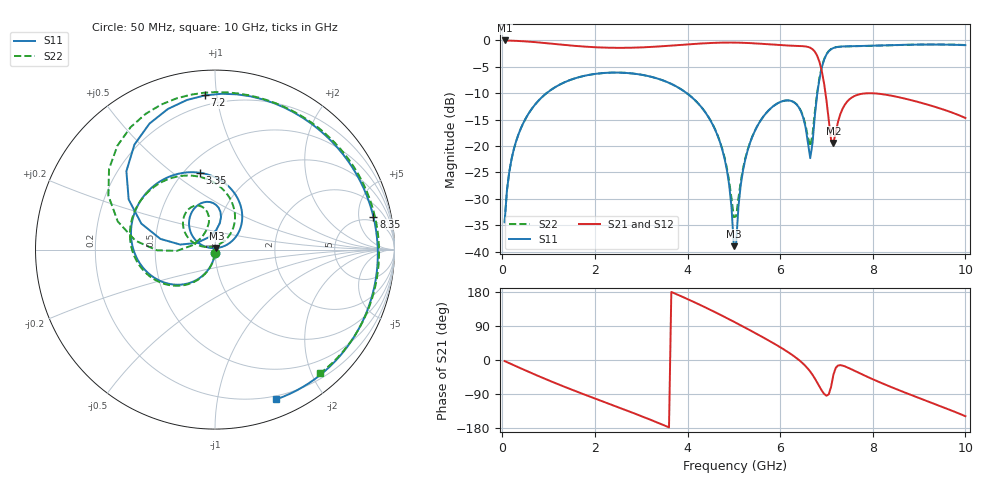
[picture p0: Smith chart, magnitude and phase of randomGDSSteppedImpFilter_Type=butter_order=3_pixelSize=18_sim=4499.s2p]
! freq	dB(S11)	phase(S11)	dB(S12)	phase(S12)
!  dB(S21)	phase(S21)	dB(S22)	phase(S22)
!S-par simulation data
#  GHz  S  DB  R 50
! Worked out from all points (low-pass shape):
!   200 points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, 50 MHz to 10 GHz, reference 50 ohm
!   highest |S21| = -0.01 dB at 50 MHz (marker M1); lowest = -19.4 dB at 7.15 GHz (marker M2)
!   |S21| within 3 dB of the highest: start of sweep to 6.804 GHz
!   lowest |S11| = -39.0 dB at 5 GHz (marker M3), VSWR 1.02, Z = 50.7 + j0.856 ohm
!   |S11| at or under -10 dB: start of sweep to 954.4 MHz; 3.985 GHz to 6.803 GHz (2.818 GHz wide, 52.2 % of centre)
!   |S22| runs from -34.4 to -0.8 dB; largest |S21 - S12| = 0
!   S11 on the Smith chart (normalised r, x): 50 MHz: 1.00, -0.04; 3.35 GHz: 0.60, +0.63; 7.2 GHz: 0.14, +0.93; 8.35 GHz: 3.96, +7.74; 10 GHz: 0.17, -1.48
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0.05  -34.45 -92.8  -0.01 -2.8  -0.01 -2.8  -34.45 -92.7
0.2  -22.46 -101.7  -0.05 -11.1  -0.05 -11.1  -22.46 -101.3
0.5  -14.86 -118.5  -0.18 -27.5  -0.18 -27.5  -14.86 -117.6
1.75  -6.75 177.7  -1.15 -90.0  -1.15 -90.0  -6.75 -178.9
3.35  -7.22 100.9  -1.16 -165.1  -1.16 -165.1  -7.21 108.8
3.4  -7.36 98.4  -1.13 -167.6  -1.13 -167.6  -7.36 106.4
4.6  -16.99 32.4  -0.45 125.9  -0.45 125.9  -16.93 48.0
4.85  -24.55 21.1  -0.41 110.5  -0.41 110.5  -24.17 43.9
5  -38.96 48.4  -0.41 101.1  -0.41 101.1  -33.45 83.9
5.05  -38.38 137.2  -0.42 97.9  -0.42 97.9  -33.30 127.0
5.25  -22.43 161.3  -0.47 85.0  -0.47 85.0  -22.22 166.3
5.65  -14.27 138.0  -0.67 58.4  -0.67 58.4  -14.27 150.2
6.35  -12.08 88.6  -1.03 5.4  -1.03 5.4  -12.05 106.8
6.65  -22.29 117.2  -1.39 -30.7  -1.39 -30.7  -20.02 137.8
6.7  -19.35 159.8  -1.66 -39.2  -1.66 -39.2  -17.71 169.7
6.95  -3.62 138.5  -8.23 -89.5  -8.23 -89.5  -3.54 153.2
7.15  -1.43 100.7  -19.40 -39.1  -19.40 -39.1  -1.42 117.1
7.2  -1.30 93.7  -17.37 -20.7  -17.37 -20.7  -1.29 110.4
7.7  -1.07 49.1  -10.22 -34.0  -10.22 -34.0  -1.08 67.5
8.35  -0.90 11.7  -10.38 -69.0  -10.38 -69.0  -0.91 31.0
9.2  -0.78 -29.0  -12.20 -109.7  -12.20 -109.7  -0.76 -10.0
10  -0.90 -67.8  -14.69 -148.3  -14.69 -148.3  -0.87 -49.7
